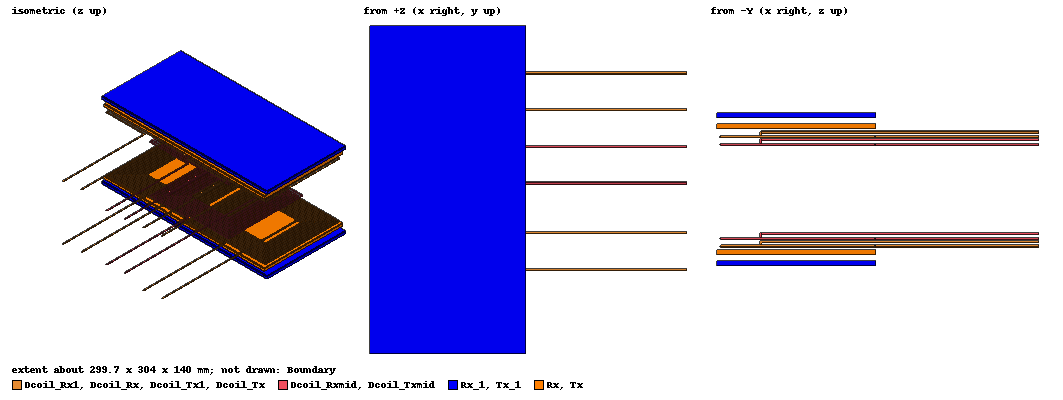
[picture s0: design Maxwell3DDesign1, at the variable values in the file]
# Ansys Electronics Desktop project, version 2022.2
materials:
  vacuum: permittivity=1
  copper litz: permeability=0.999991 conductivity=58000000 stacking_type="Litz Wire" wire_type=Round strand_number=1 wire_diameter=2mm
  air: permittivity=1.0006 permeability=1.0000004
  ferrite: permittivity=12 permeability=1000 conductivity=0.01
  aluminum: permeability=1.000021 conductivity=38000000

design Maxwell3DDesign1 (Maxwell 3D, EddyCurrent, model units mm)
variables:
  airgap = 100mm
  misal = 0mm
  i = 50A
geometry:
  Dcoil_Tx [copper litz] = polyline(z=0mm, xy in mm: (140, 60) (140, 0) (0, 0) (0, 140) (136, 140) (136, 4) (4, 4) (4, 136) (132, 136) (132, 8) (8, 8) (8, 132) (128, 132) (128, 12) (12, 12) (12, 128) (124, 128) (124, 16) (16, 16) (16, 124) (120, 124) (120, 20) (20, 20) (20, 120) (116, 120) (116, 24) (24, 24) (24, 116) (112, 116) (112, 28) (28, 28) (28, 112) (108, 112) (108, 32) (32, 32) (32, 108) (104, 108) (104, 36) (36, 36) (36, 104), section circle width=2mm)
  Polyline2 = polyline(y=104mm, xz in mm: (36, 0) (36, 4) (1000, 4), section circle width=2mm)
  Polyline3 = polyline(z=0mm, xy in mm: (140, 60) (140, 70) (1000, 70), section circle width=2mm)
  Dcoil_Tx.unite(Polyline2, Polyline3)
  Box2 = box(corner=(300mm, -50mm, 50mm), size=(800mm, 200mm, -200mm))
  Dcoil_Tx.subtract(Box2)
  Dcoil_Tx1 [copper litz] = polyline(z=0mm, xy in mm: (140, 60) (140, 0) (0, 0) (0, 140) (136, 140) (136, 4) (4, 4) (4, 136) (132, 136) (132, 8) (8, 8) (8, 132) (128, 132) (128, 12) (12, 12) (12, 128) (124, 128) (124, 16) (16, 16) (16, 124) (120, 124) (120, 20) (20, 20) (20, 120) (116, 120) (116, 24) (24, 24) (24, 116) (112, 116) (112, 28) (28, 28) (28, 112) (108, 112) (108, 32) (32, 32) (32, 108) (104, 108) (104, 36) (36, 36) (36, 104), section circle width=2mm)
  Polyline4 = polyline(y=104mm, xz in mm: (36, 0) (36, 4) (1000, 4), section circle width=2mm)
  Polyline5 = polyline(z=0mm, xy in mm: (140, 60) (140, 70) (1000, 70), section circle width=2mm)
  Dcoil_Tx1.unite(Polyline4, Polyline5)
  Box3 = box(corner=(300mm, -50mm, 50mm), size=(800mm, 200mm, -200mm))
  Dcoil_Tx1.subtract(Box3)
  Dcoil_Tx1.move(0mm, 148mm, 0mm)
  Boundary [air] = box(corner=(-10mm, -60mm, 130mm), size=(300mm, 580mm, -155mm))
  Box5 = box(corner=(290mm, -60mm, 40mm), size=(230mm, 380mm, -140mm))
  Dcoil_Tx.subtract(Box5)
  Dcoil_Rx [copper litz] = polyline(z=0mm, xy in mm: (140, 60) (140, 0) (0, 0) (0, 140) (136, 140) (136, 4) (4, 4) (4, 136) (132, 136) (132, 8) (8, 8) (8, 132) (128, 132) (128, 12) (12, 12) (12, 128) (124, 128) (124, 16) (16, 16) (16, 124) (120, 124) (120, 20) (20, 20) (20, 120) (116, 120) (116, 24) (24, 24) (24, 116) (112, 116) (112, 28) (28, 28) (28, 112) (108, 112) (108, 32) (32, 32) (32, 108) (104, 108) (104, 36) (36, 36) (36, 104), section circle width=2mm)
  Polyline6 = polyline(y=104mm, xz in mm: (36, 0) (36, 4) (1000, 4), section circle width=2mm)
  Polyline7 = polyline(z=0mm, xy in mm: (140, 60) (140, 70) (1000, 70), section circle width=2mm)
  Dcoil_Rx.unite(Polyline6, Polyline7)
  Box6 = box(corner=(300mm, -50mm, 50mm), size=(800mm, 200mm, -200mm))
  Dcoil_Rx.subtract(Box6)
  Box8 = box(corner=(290mm, -60mm, 40mm), size=(230mm, 380mm, -140mm))
  Dcoil_Rx.subtract(Box8)
  Dcoil_Rx.move(0mm, 0mm, airgap)
  Dcoil_Rx.move(0mm, misal, 0mm)
  Dcoil_Rx1 [copper litz] = polyline(z=0mm, xy in mm: (140, 60) (140, 0) (0, 0) (0, 140) (136, 140) (136, 4) (4, 4) (4, 136) (132, 136) (132, 8) (8, 8) (8, 132) (128, 132) (128, 12) (12, 12) (12, 128) (124, 128) (124, 16) (16, 16) (16, 124) (120, 124) (120, 20) (20, 20) (20, 120) (116, 120) (116, 24) (24, 24) (24, 116) (112, 116) (112, 28) (28, 28) (28, 112) (108, 112) (108, 32) (32, 32) (32, 108) (104, 108) (104, 36) (36, 36) (36, 104), section circle width=2mm)
  Polyline8 = polyline(y=104mm, xz in mm: (36, 0) (36, 4) (1000, 4), section circle width=2mm)
  Polyline9 = polyline(z=0mm, xy in mm: (140, 60) (140, 70) (1000, 70), section circle width=2mm)
  Dcoil_Rx1.unite(Polyline8, Polyline9)
  Box9 = box(corner=(300mm, -50mm, 50mm), size=(800mm, 200mm, -200mm))
  Dcoil_Rx1.subtract(Box9)
  Dcoil_Rx1.move(0mm, 148mm, 100mm)
  Box10 = box(corner=(290mm, -60mm, 120mm), size=(290mm, 580mm, -140mm))
  Dcoil_Tx1.subtract(Box10)
  Box11 = box(corner=(290mm, -60mm, 120mm), size=(260mm, 580mm, -140mm))
  Dcoil_Rx1.subtract(Box11)
  Tx [ferrite] = box(corner=(-4mm, -4mm, -8mm), size=(145mm, 295mm, 5mm))
  Rx [ferrite] = box(corner=(-4mm, -4mm, -8mm), size=(145mm, 295mm, 5mm))
  Rx.move(0mm, 0mm, 115mm)
  Tx_1 [aluminum] = box(corner=(-4mm, -8mm, -18mm), size=(145mm, 304mm, 5mm))
  Rx_1 [aluminum] = box(corner=(-4mm, -8mm, -15mm), size=(145mm, 304mm, 5mm))
  Rx_1.move(0mm, 0mm, 132mm)
  [Rx_1, Rx, Dcoil_Rx1].move(0mm, misal, 0mm)
  Dcoil_Rxmid [copper litz] = polyline(z=0mm, xy in mm: (140, 60) (140, 0) (0, 0) (0, 140) (136, 140) (136, 4) (4, 4) (4, 136) (132, 136) (132, 8) (8, 8) (8, 132) (128, 132) (128, 12) (12, 12) (12, 128) (124, 128) (124, 16) (16, 16) (16, 124) (120, 124) (120, 20) (20, 20) (20, 120) (116, 120) (116, 24) (24, 24) (24, 116) (112, 116) (112, 28) (28, 28) (28, 112) (108, 112) (108, 32) (32, 32) (32, 108) (104, 108) (104, 36) (36, 36) (36, 104), section circle width=2mm)
  Polyline10 = polyline(y=104mm, xz in mm: (36, 0) (36, 4) (1000, 4), section circle width=2mm)
  Polyline11 = polyline(z=0mm, xy in mm: (140, 60) (140, 70) (1000, 70), section circle width=2mm)
  Dcoil_Rxmid.unite(Polyline10, Polyline11)
  Box12 = box(corner=(300mm, -50mm, 50mm), size=(800mm, 200mm, -200mm))
  Dcoil_Rxmid.subtract(Box12)
  Box13 = box(corner=(290mm, -60mm, 40mm), size=(230mm, 380mm, -140mm))
  Dcoil_Rxmid.subtract(Box13)
  Dcoil_Rxmid.move(0mm, 0mm, airgap)
  Dcoil_Rxmid.move(0mm, misal, 0mm)
  Dcoil_Rxmid.move(0mm, 80mm, -7mm)
  Dcoil_Txmid [copper litz] = polyline(z=0mm, xy in mm: (140, 60) (140, 0) (0, 0) (0, 140) (136, 140) (136, 4) (4, 4) (4, 136) (132, 136) (132, 8) (8, 8) (8, 132) (128, 132) (128, 12) (12, 12) (12, 128) (124, 128) (124, 16) (16, 16) (16, 124) (120, 124) (120, 20) (20, 20) (20, 120) (116, 120) (116, 24) (24, 24) (24, 116) (112, 116) (112, 28) (28, 28) (28, 112) (108, 112) (108, 32) (32, 32) (32, 108) (104, 108) (104, 36) (36, 36) (36, 104), section circle width=2mm)
  Polyline12 = polyline(y=104mm, xz in mm: (36, 0) (36, 4) (1000, 4), section circle width=2mm)
  Polyline13 = polyline(z=0mm, xy in mm: (140, 60) (140, 70) (1000, 70), section circle width=2mm)
  Dcoil_Txmid.unite(Polyline12, Polyline13)
  Box14 = box(corner=(300mm, -50mm, 50mm), size=(800mm, 200mm, -200mm))
  Dcoil_Txmid.subtract(Box14)
  Box15 = box(corner=(290mm, -60mm, 40mm), size=(230mm, 380mm, -140mm))
  Dcoil_Txmid.subtract(Box15)
  Dcoil_Txmid.move(0mm, 0mm, airgap)
  Dcoil_Txmid.move(0mm, 80mm, -93mm)
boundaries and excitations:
  Tx_in1: Current Faces=Dcoil_Tx.face(at (290, 70, 0)) Phase=0deg Current=i IsSolid=false Point_out_of_terminal=false
  Tx_out1: Current Faces=Dcoil_Tx.face(at (290, 104, 4)) Phase=0deg Current=i IsSolid=false Point_out_of_terminal=true
  Rx_in1: Current Faces=Dcoil_Rx.face(#2166) Phase=0deg Current=0mA IsSolid=true Point_out_of_terminal=false
  Rx_out1: Current Faces=Dcoil_Rx.face(#2165) Phase=0deg Current=0mA IsSolid=true Point_out_of_terminal=true
  Rx_in2: Current Faces=Dcoil_Rx1.face(#2510) Phase=0deg Current=0mA IsSolid=true Point_out_of_terminal=false
  Rx_out2: Current Faces=Dcoil_Rx1.face(#2509) Phase=0deg Current=0mA IsSolid=true Point_out_of_terminal=true
  Tx_in2: Current Faces=Dcoil_Tx1.face(at (290, 218, 0)) Phase=0deg Current=i IsSolid=false Point_out_of_terminal=false
  Tx_out2: Current Faces=Dcoil_Tx1.face(at (290, 252, 4)) Phase=0deg Current=i IsSolid=false Point_out_of_terminal=true
  Rx_in3: Current Faces=Dcoil_Rxmid.face(#2915) Phase=0deg Current=0mA IsSolid=true Point_out_of_terminal=false
  Rx_out3: Current Faces=Dcoil_Rxmid.face(#2914) Phase=0deg Current=0mA IsSolid=true Point_out_of_terminal=true
  Tx_in3: Current Faces=Dcoil_Txmid.face(#3220) Phase=0deg Current=i IsSolid=false Point_out_of_terminal=false
  Tx_out3: Current Faces=Dcoil_Txmid.face(#3219) Phase=0deg Current=i IsSolid=false Point_out_of_terminal=true
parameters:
  Matrix1: Matrix Rx_in1, Tx_in1, Rx_in2, Tx_in2, Rx_in3, Tx_in3:
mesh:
  Length2: LengthBased Objects=[Rx_1, Tx_1, Dcoil_Rx, Dcoil_Rx1, Dcoil_Rxmid, Dcoil_Tx, Dcoil_Tx1, Dcoil_Txmid, Rx, Tx] MaxLength=60.8mm
  Length1: LengthBased RefineInside Objects=Boundary MaxLength=116mm
  initial mesh: GlobalSurfApproximation{CurvedSurfaceApproxChoice=UseSlider SliderMeshSettings=1} GlobalCurvilinear{Apply}
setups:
  Setup1: EddyCurrent MaximumPasses=10 MinimumPasses=2 MinimumConvergedPasses=1 PercentRefinement=30 PercentError=20 RelativeResidual=1e-05 NonLinearResidual=0.0001 Frequency=85kHz SweepRanges{80kHz to 100kHz step 1kHz} SaveAllFields
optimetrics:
  ParametricSetup1: Parametric Sim._Setups=[Setup1]
    sweep misal: LIN 0mm 200mm 50mm
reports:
  Coupling Coeff Plot 1: Matrix1.CplCoef(Tx_in1,Rx_in1), Matrix1.CplCoef(Rx_in2,Rx_in1) vs misal on Setup1 : LastAdaptive [Freq=all]
  Coupling Coeff Table 1: Matrix1.CplCoef(Tx_in1,Rx_in1), Matrix1.CplCoef(Rx_in2,Rx_in1) vs misal on Setup1 : LastAdaptive [Freq=all]
  L Plot 1: Matrix1.L(Tx_in1,Rx_in1), Matrix1.L(Rx_in2,Rx_in1) vs misal on Setup1 : LastAdaptive [Freq=all]
  L Table 1: Matrix1.L(Tx_in1,Rx_in1), Matrix1.L(Rx_in2,Rx_in1) vs misal on Setup1 : LastAdaptive [Freq=all]

design Simplorer1 (Twin Builder)
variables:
  f = 85kHz
  R_load = 10ohm
  Cp = 194nF
  Cs = 990nF
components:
  E_source = E(Type=ESINE AMPL=311.12698V FREQ=f PERIO=0 TPERIO=Tend+1)
  Cp = C(C=Cp)
  Cs = C(C=Cs)
  I_in = AM()
  V_in = VM()
  V_out = VM()
  I_out = AM()
  R_load = R(R=R_load)
  gnd1 = gnd()
  gnd2 = gnd()
  Mx_SS2 = MaxwellData7(ComponentDataType=MaxwellData name=MaxwellData7 filename="$PROJECTDIR\DDQ with ferrite.aedt" numberofports=12 CouplingDesignName=Maxwell3DDesign1 CouplingSolutionName="Setup1 : LastAdaptive" CouplingMatrixName=Matrix1 CouplingType=SparamMaxwell3DLink VariationKey="airgap='100mm' i='50A' misal='0mm'" MaxNumPoles=10000 ErrTol=0.005 SSZref=50ohm Mw2DDepth=1meter MwScale=1 RefPinStyle=3 MxModelType=5 Properties{paramProp(airgap, 100mm) paramProp(i, 50A) paramProp(misal, 0mm)} PortInfo{OnePortInfo(Rx_in1_src, -1, Rx_in1:src) OnePortInfo(Rx_in2_src, -1, Rx_in2:src) OnePortInfo(Rx_in3_src, -1, Rx_in3:src) OnePortInfo(Tx_in1_src, -1, Tx_in1:src) OnePortInfo(Tx_in2_src, -1, Tx_in2:src) OnePortInfo(Tx_in3_src, -1, Tx_in3:src) OnePortInfo(Rx_in1_snk, -1, Rx_in1:snk) OnePortInfo(Rx_in2_snk, -1, Rx_in2:snk) OnePortInfo(Rx_in3_snk, -1, Rx_in3:snk) OnePortInfo(Tx_in1_snk, -1, Tx_in1:snk) OnePortInfo(Tx_in2_snk, -1, Tx_in2:snk) OnePortInfo(Tx_in3_snk, -1, Tx_in3:snk)} misal=0mm)
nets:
  net_1: I_in.1, E_source.1
  net_10: V_out.1, gnd1.0, Mx_SS2.6, Mx_SS2.7, Mx_SS2.8, R_load.1
  net_11: V_in.0, Cp.0, Mx_SS2.3, Mx_SS2.4, Mx_SS2.5
  net_13: gnd2.0, V_in.1, E_source.0, Mx_SS2.9, Mx_SS2.10, Mx_SS2.11
  net_15: V_out.0, Mx_SS2.0, Mx_SS2.1, Mx_SS2.2, Cs.0
  net_16: I_out.1, Cs.1
  net_2: Cp.1, I_in.0
  net_9: I_out.0, R_load.0
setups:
  AC: LinearFrequencyData(1, 80kHz, 100kHz, 1kHz)
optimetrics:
  ParametricSetup1: Parametric SaveSolutions Sim._Setups=[AC]
    sweep Mx_SS2.misal: LIN 0mm 200mm 50mm
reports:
  Data Table 2: (mag(V_out.V)*mag(I_out.I)) / (mag(V_in.V)*mag(I_in.I)) vs Mx_SS2.misal on AC : AC [R_load=all Freq=all Cp=all Cs=all f=all]
  XY Plot 1: (mag(V_out.V)*mag(I_out.I))/(mag(V_in.V)*mag(I_in.I)) vs Mx_SS2.misal on AC : AC [f=all R_load=all Cp=all Cs=all Freq=all]
